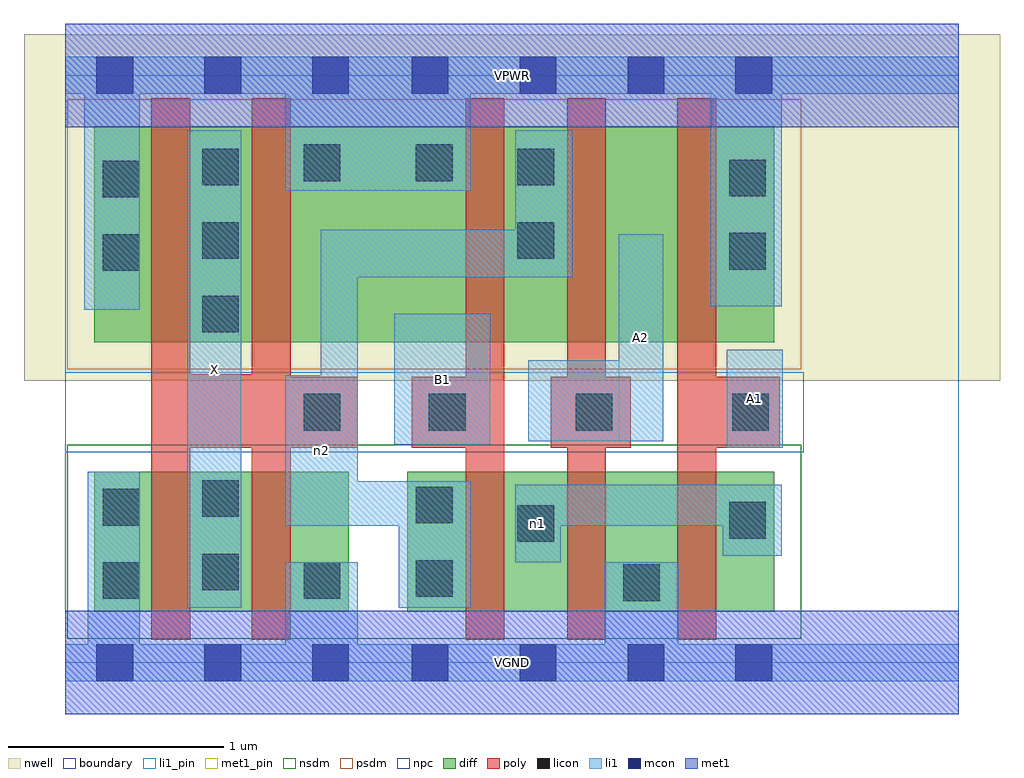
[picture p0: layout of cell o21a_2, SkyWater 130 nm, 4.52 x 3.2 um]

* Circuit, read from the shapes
.subckt o21a_2 A1 A2 B1 VGND VPWR X n1 n2
XM1 X n2 VGND VSUBS sky130_fd_pr__nfet_01v8 w=0.65 l=0.18 m=2
XM2 n1 B1 n2 VSUBS sky130_fd_pr__nfet_01v8 w=0.65 l=0.18
XM3 VGND A2 n1 VSUBS sky130_fd_pr__nfet_01v8 w=0.65 l=0.18
XM4 n1 A1 VGND VSUBS sky130_fd_pr__nfet_01v8 w=0.65 l=0.18
XM5 X n2 VPWR n3 sky130_fd_pr__pfet_01v8 w=1 l=0.18 m=2
XM6 n2 B1 VPWR n3 sky130_fd_pr__pfet_01v8 w=1 l=0.18
XM7 n4 A2 n2 n3 sky130_fd_pr__pfet_01v8 w=1 l=0.18
XM8 VPWR A1 n4 n3 sky130_fd_pr__pfet_01v8 w=1 l=0.18
.ends

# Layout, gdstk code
import gdstk
lib = gdstk.Library(unit=1e-6, precision=1e-09)
def R(c, l, rs):  # rectangles x0, y0, x1, y1
    for r in rs: c.add(gdstk.rectangle(r[:2], r[2:], *l))
def A(c, l, x, y, w, h, nx, ny, dx, dy):  # array of equal rectangles
    R(c, l, [(x+i*dx, y+j*dy, x+i*dx+w, y+j*dy+h) for i in range(nx) for j in range(ny)])
nwell = (64, 20)
diff = (65, 20)
poly = (66, 20)
licon = (66, 44)
li1_pin = (67, 16)
li1 = (67, 20)
mcon = (67, 44)
met1_pin = (68, 16)
met1 = (68, 20)
nsdm = (93, 44)
psdm = (94, 20)
npc = (95, 20)
boundary = (235, 4)

o21a_2 = lib.new_cell('o21a_2')
R(o21a_2, nwell, [(-0.19,1.305,4.33,2.91), (0,1.305,4.14,2.91)])
R(o21a_2, diff, [(0.135,0.235,1.315,0.885), (1.585,0.235,3.285,0.885), (0.135,1.485,3.285,2.485)])
R(o21a_2, poly, [(0.4,0.105,0.58,2.615), (0.865,0.105,1.045,2.615), (1.855,0.105,2.035,2.615), (2.325,0.105,2.505,2.615), (2.835,0.105,3.015,2.615), (0.4,0.995,1.355,1.325), (0.4,0.995,1.045,1.335), (1.605,0.995,2.035,1.325), (2.25,0.995,2.62,1.325), (2.835,0.995,3.31,1.325)])
A(o21a_2, licon, 0.635, 1.53, 0.17, 0.17, 1, 3, 0, 0.34)
R(o21a_2, licon, [(2.585,0.285,2.755,0.455), (0.175,0.295,0.345,0.465), (1.105,0.295,1.275,0.465), (1.625,0.305,1.795,0.475), (0.635,0.335,0.805,0.505), (2.095,0.56,2.265,0.73), (3.075,0.575,3.245,0.745), (0.175,0.635,0.345,0.805), (1.625,0.645,1.795,0.815), (0.635,0.675,0.805,0.845), (1.105,1.075,1.275,1.245), (1.685,1.075,1.855,1.245), (2.365,1.075,2.535,1.245), (3.09,1.075,3.26,1.245), (0.175,1.815,0.345,1.985), (3.075,1.82,3.245,1.99), (2.095,1.87,2.265,2.04), (0.175,2.155,0.345,2.325), (3.075,2.16,3.245,2.33), (2.095,2.21,2.265,2.38), (1.105,2.23,1.275,2.4), (1.625,2.23,1.795,2.4)])
R(o21a_2, li1_pin, [(0.565,0.255,0.815,2.465), (3.065,0.995,3.325,1.45), (1.525,1.01,1.97,1.615), (2.565,1.025,2.77,1.985)])
R(o21a_2, li1, [(0,-0.085,4.14,0.085), (0.105,-0.085,0.345,0.885), (1.02,-0.085,1.355,0.465), (2.5,-0.085,2.84,0.465), (0.565,0.255,0.815,2.465), (1.545,0.255,1.88,0.84), (2.085,0.465,2.295,0.825), (3.045,0.495,3.32,0.825), (1.02,0.635,1.355,1.33), (1.02,0.635,1.88,0.84), (1.185,0.635,1.355,2.005), (2.085,0.635,3.32,0.825), (3.065,0.995,3.325,1.45), (1.525,1.01,1.97,1.615), (2.145,1.025,2.77,1.4), (2.565,1.025,2.77,1.985), (0.09,1.635,0.345,2.805), (2.99,1.65,3.32,2.805), (1.185,1.785,2.35,2.005), (2.085,1.785,2.35,2.465), (1.02,2.185,1.88,2.805), (0,2.635,4.14,2.805)])
A(o21a_2, mcon, 0.145, -0.085, 0.17, 0.17, 3, 2, 0.5, 2.72)
A(o21a_2, mcon, 1.605, -0.085, 0.17, 0.17, 4, 2, 0.5, 2.72)
R(o21a_2, met1_pin, [(0,-0.24,4.14,0.24), (0,2.48,4.14,2.96)])
R(o21a_2, met1, [(0,-0.24,4.14,0.24), (0,2.48,4.14,2.96)])
R(o21a_2, nsdm, [(0.01,0.11,3.41,1.01)])
R(o21a_2, psdm, [(0.01,1.36,3.41,2.61)])
R(o21a_2, npc, [(0,0.975,3.42,1.345)])
R(o21a_2, boundary, [(0,0,4.14,2.72)])
o21a_2.add(gdstk.Label('A1', (3.195,1.222), layer=67, texttype=5))
o21a_2.add(gdstk.Label('A2', (2.667,1.505), layer=67, texttype=5))
o21a_2.add(gdstk.Label('B1', (1.747,1.312), layer=67, texttype=5))
o21a_2.add(gdstk.Label('X', (0.69,1.36), layer=67, texttype=5))
o21a_2.add(gdstk.Label('n1', (2.19,0.645), layer=67, texttype=5))
o21a_2.add(gdstk.Label('n2', (1.187,0.982), layer=67, texttype=5))
o21a_2.add(gdstk.Label('VPWR', (2.07,2.72), layer=68, texttype=5))
o21a_2.add(gdstk.Label('VGND', (2.07,0), layer=68, texttype=5))
o21a_2.add(gdstk.Label('A1', (3.195,1.222), layer=67, texttype=16))
o21a_2.add(gdstk.Label('A2', (2.667,1.505), layer=67, texttype=16))
o21a_2.add(gdstk.Label('B1', (1.747,1.312), layer=67, texttype=16))
o21a_2.add(gdstk.Label('X', (0.69,1.36), layer=67, texttype=16))
o21a_2.add(gdstk.Label('VPWR', (2.07,2.72), layer=68, texttype=16))
o21a_2.add(gdstk.Label('VGND', (2.07,0), layer=68, texttype=16))

lib.write_gds('o21a_2.gds')
